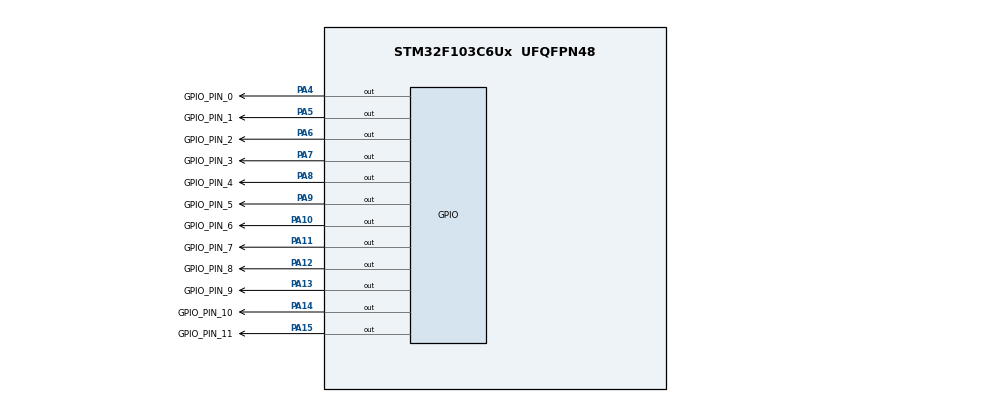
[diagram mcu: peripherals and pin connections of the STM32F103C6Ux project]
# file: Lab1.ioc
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Mcu.Family=STM32F1
Mcu.Name=STM32F103C6Ux
Mcu.Package=UFQFPN48
NVIC.PriorityGroup=NVIC_PRIORITYGROUP_4
PA10.GPIO_Label=GPIO_PIN_6
PA10.Signal=GPIO_Output
PA11.GPIO_Label=GPIO_PIN_7
PA11.Signal=GPIO_Output
PA12.GPIO_Label=GPIO_PIN_8
PA12.Signal=GPIO_Output
PA13.GPIO_Label=GPIO_PIN_9
PA13.Signal=GPIO_Output
PA14.GPIO_Label=GPIO_PIN_10
PA14.Signal=GPIO_Output
PA15.GPIO_Label=GPIO_PIN_11
PA15.Signal=GPIO_Output
PA4.GPIO_Label=GPIO_PIN_0
PA4.Signal=GPIO_Output
PA5.GPIO_Label=GPIO_PIN_1
PA5.Signal=GPIO_Output
PA6.GPIO_Label=GPIO_PIN_2
PA6.Signal=GPIO_Output
PA7.GPIO_Label=GPIO_PIN_3
PA7.Signal=GPIO_Output
PA8.GPIO_Label=GPIO_PIN_4
PA8.Signal=GPIO_Output
PA9.GPIO_Label=GPIO_PIN_5
PA9.Signal=GPIO_Output
ProjectManager.HeapSize=0x200
ProjectManager.StackSize=0x400
ProjectManager.TargetToolchain=STM32CubeIDE
RCC.APB1Freq_Value=8000000
RCC.APB2Freq_Value=8000000
VP_SYS_VS_ND.Mode=No_Debug
board=custom

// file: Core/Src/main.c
/* USER CODE BEGIN Header */
/**
  ******************************************************************************
  * @file           : main.c
  * @brief          : Main program body
  ******************************************************************************
  * @attention
  *
  * <h2><center>&copy; Copyright (c) 2026 STMicroelectronics.
  * All rights reserved.</center></h2>
  *
  * This software component is licensed by ST under BSD 3-Clause license,
  * the "License"; You may not use this file except in compliance with the
  * License. You may obtain a copy of the License at:
  *                        opensource.org/licenses/BSD-3-Clause
  *
  ******************************************************************************
  */
/* USER CODE END Header */
#include "main.h"

/* USER CODE BEGIN PV */
unsigned long counter = 0;
int hour = 0, minute = 0, second = 0;
/* USER CODE END PV */

void SystemClock_Config(void);
static void MX_GPIO_Init(void);
void setNumberOnClock(int num);
void clearAllClock();
void clearNumberOnClock(int num);

int main(void)
{

  /* MCU Configuration--------------------------------------------------------*/

  /* Reset of all peripherals, Initializes the Flash interface and the Systick. */
  HAL_Init();

  /* Configure the system clock */
  SystemClock_Config();

  /* Initialize all configured peripherals */
  MX_GPIO_Init();

  /* Infinite loop */
  /* USER CODE BEGIN WHILE */
  while (1)
  {
	  HAL_Delay(10);
	  counter+=10;
	  if (counter >= 20) {
		  clearNumberOnClock(second/5);
		  clearNumberOnClock(minute/5);
		  clearNumberOnClock(hour);
		  second++;
		  counter = 0;
		  if (second >= 60) {
			  minute++;
			  second = 0;
		  }
		  if (minute >= 60){
			  hour++;
			  minute = 0;
		  }
		  if (hour >= 12) hour = 0;
		  setNumberOnClock(second/5);
		  setNumberOnClock(minute/5);
		  setNumberOnClock(hour);
	  }
    /* USER CODE END WHILE */

  }
}

void SystemClock_Config(void)
{
  RCC_OscInitTypeDef RCC_OscInitStruct = {0};
  RCC_ClkInitTypeDef RCC_ClkInitStruct = {0};

  /** Initializes the RCC Oscillators according to the specified parameters
  * in the RCC_OscInitTypeDef structure.
  */
  RCC_OscInitStruct.OscillatorType = RCC_OSCILLATORTYPE_HSI;
  RCC_OscInitStruct.HSIState = RCC_HSI_ON;
  RCC_OscInitStruct.HSICalibrationValue = RCC_HSICALIBRATION_DEFAULT;
  RCC_OscInitStruct.PLL.PLLState = RCC_PLL_NONE;
  if (HAL_RCC_OscConfig(&RCC_OscInitStruct) != HAL_OK)
  {
    Error_Handler();
  }
  /** Initializes the CPU, AHB and APB buses clocks
  */
  RCC_ClkInitStruct.ClockType = RCC_CLOCKTYPE_HCLK|RCC_CLOCKTYPE_SYSCLK
                              |RCC_CLOCKTYPE_PCLK1|RCC_CLOCKTYPE_PCLK2;
  RCC_ClkInitStruct.SYSCLKSource = RCC_SYSCLKSOURCE_HSI;
  RCC_ClkInitStruct.AHBCLKDivider = RCC_SYSCLK_DIV1;
  RCC_ClkInitStruct.APB1CLKDivider = RCC_HCLK_DIV1;
  RCC_ClkInitStruct.APB2CLKDivider = RCC_HCLK_DIV1;

  if (HAL_RCC_ClockConfig(&RCC_ClkInitStruct, FLASH_LATENCY_0) != HAL_OK)
  {
    Error_Handler();
  }
}

static void MX_GPIO_Init(void)
{
  GPIO_InitTypeDef GPIO_InitStruct = {0};

  /* GPIO Ports Clock Enable */
  __HAL_RCC_GPIOA_CLK_ENABLE();

  /*Configure GPIO pin Output Level */
  HAL_GPIO_WritePin(GPIOA, GPIO_PIN_0_Pin|GPIO_PIN_1_Pin|GPIO_PIN_2_Pin|GPIO_PIN_3_Pin
                          |GPIO_PIN_4_Pin|GPIO_PIN_5_Pin|GPIO_PIN_6_Pin|GPIO_PIN_7_Pin
                          |GPIO_PIN_8_Pin|GPIO_PIN_9_Pin|GPIO_PIN_10_Pin|GPIO_PIN_11_Pin, GPIO_PIN_SET);

  /*Configure GPIO pins : PAPin PAPin PAPin PAPin
                           PAPin PAPin PAPin PAPin
                           PAPin PAPin PAPin PAPin */
  GPIO_InitStruct.Pin = GPIO_PIN_0_Pin|GPIO_PIN_1_Pin|GPIO_PIN_2_Pin|GPIO_PIN_3_Pin
                          |GPIO_PIN_4_Pin|GPIO_PIN_5_Pin|GPIO_PIN_6_Pin|GPIO_PIN_7_Pin
                          |GPIO_PIN_8_Pin|GPIO_PIN_9_Pin|GPIO_PIN_10_Pin|GPIO_PIN_11_Pin;
  GPIO_InitStruct.Mode = GPIO_MODE_OUTPUT_PP;
  GPIO_InitStruct.Pull = GPIO_NOPULL;
  GPIO_InitStruct.Speed = GPIO_SPEED_FREQ_LOW;
  HAL_GPIO_Init(GPIOA, &GPIO_InitStruct);

}

/* USER CODE BEGIN 4 */
void setNumberOnClock(int num){
	switch(num){
		case 0:
			HAL_GPIO_WritePin(GPIOA, GPIO_PIN_0_Pin, GPIO_PIN_RESET);
			break;
		case 1:
			HAL_GPIO_WritePin(GPIOA, GPIO_PIN_1_Pin, GPIO_PIN_RESET);
			break;
		case 2:
			HAL_GPIO_WritePin(GPIOA, GPIO_PIN_2_Pin, GPIO_PIN_RESET);
			break;
		case 3:
			HAL_GPIO_WritePin(GPIOA, GPIO_PIN_3_Pin, GPIO_PIN_RESET);
			break;
		case 4:
			HAL_GPIO_WritePin(GPIOA, GPIO_PIN_4_Pin, GPIO_PIN_RESET);
			break;
		case 5:
			HAL_GPIO_WritePin(GPIOA, GPIO_PIN_5_Pin, GPIO_PIN_RESET);
			break;
		case 6:
			HAL_GPIO_WritePin(GPIOA, GPIO_PIN_6_Pin, GPIO_PIN_RESET);
			break;
		case 7:
			HAL_GPIO_WritePin(GPIOA, GPIO_PIN_7_Pin, GPIO_PIN_RESET);
			break;
		case 8:
			HAL_GPIO_WritePin(GPIOA, GPIO_PIN_8_Pin, GPIO_PIN_RESET);
			break;
		case 9:
			HAL_GPIO_WritePin(GPIOA, GPIO_PIN_9_Pin, GPIO_PIN_RESET);
			break;
		case 10:
			HAL_GPIO_WritePin(GPIOA, GPIO_PIN_10_Pin, GPIO_PIN_RESET);
			break;
		case 11:
			HAL_GPIO_WritePin(GPIOA, GPIO_PIN_11_Pin, GPIO_PIN_RESET);
			break;
		default:
			break;
	}
}

void clearAllClock(){
	HAL_GPIO_WritePin(GPIOA, GPIO_PIN_0_Pin|GPIO_PIN_1_Pin|GPIO_PIN_2_Pin|GPIO_PIN_3_Pin|GPIO_PIN_4_Pin
			                            |GPIO_PIN_5_Pin|GPIO_PIN_6_Pin|GPIO_PIN_7_Pin|GPIO_PIN_8_Pin
			                            |GPIO_PIN_9_Pin|GPIO_PIN_10_Pin|GPIO_PIN_11_Pin, GPIO_PIN_SET);
}

void clearNumberOnClock(int num){
	switch(num){
		case 0:
			HAL_GPIO_WritePin(GPIOA, GPIO_PIN_0_Pin, GPIO_PIN_SET);
			break;
		case 1:
			HAL_GPIO_WritePin(GPIOA, GPIO_PIN_1_Pin, GPIO_PIN_SET);
			break;
		case 2:
			HAL_GPIO_WritePin(GPIOA, GPIO_PIN_2_Pin, GPIO_PIN_SET);
			break;
		case 3:
			HAL_GPIO_WritePin(GPIOA, GPIO_PIN_3_Pin, GPIO_PIN_SET);
			break;
		case 4:
			HAL_GPIO_WritePin(GPIOA, GPIO_PIN_4_Pin, GPIO_PIN_SET);
			break;
		case 5:
			HAL_GPIO_WritePin(GPIOA, GPIO_PIN_5_Pin, GPIO_PIN_SET);
			break;
		case 6:
			HAL_GPIO_WritePin(GPIOA, GPIO_PIN_6_Pin, GPIO_PIN_SET);
			break;
		case 7:
			HAL_GPIO_WritePin(GPIOA, GPIO_PIN_7_Pin, GPIO_PIN_SET);
			break;
		case 8:
			HAL_GPIO_WritePin(GPIOA, GPIO_PIN_8_Pin, GPIO_PIN_SET);
			break;
		case 9:
			HAL_GPIO_WritePin(GPIOA, GPIO_PIN_9_Pin, GPIO_PIN_SET);
			break;
		case 10:
			HAL_GPIO_WritePin(GPIOA, GPIO_PIN_10_Pin, GPIO_PIN_SET);
			break;
		case 11:
			HAL_GPIO_WritePin(GPIOA, GPIO_PIN_11_Pin, GPIO_PIN_SET);
			break;
		default:
			break;
	}
}
/* USER CODE END 4 */

void Error_Handler(void)
{
  __disable_irq();
  while (1)
  {
  }
}

/************************ (C) COPYRIGHT STMicroelectronics *****END OF FILE****/
